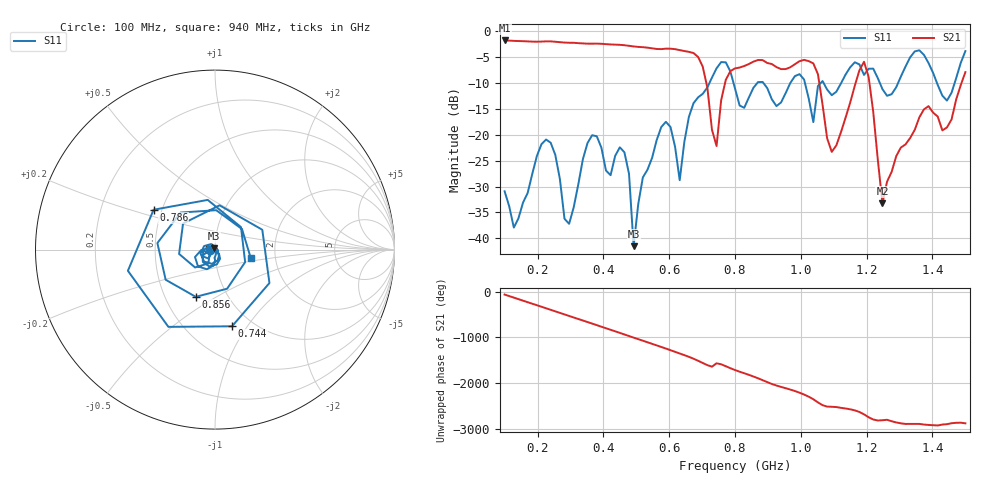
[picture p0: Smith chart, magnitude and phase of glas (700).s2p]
! NanoVNA-App
! Date: 2025-09-25 16:00:55
! Start: 100MHz Stop: 1,5GHz Points: 101
! S-Parameter data: F S11 S21 S12 S22
# Hz S RI R 50
!  Frequency  S11_Real  S11_Imag  S21_Real  S21_Imag  S12_Real  S12_Imag  S22_Real  S22_Imag
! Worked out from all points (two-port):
!   101 points, 100 MHz to 1.5 GHz, reference 50 ohm
!   highest |S21| = -1.80 dB at 100 MHz (marker M1); lowest = -33.2 dB at 1.248 GHz (marker M2)
!   |S21| within 3 dB of the highest: start of sweep to 684.5 MHz
!   lowest |S11| = -41.5 dB at 492 MHz (marker M3), VSWR 1.02, Z = 49.5 + j0.652 ohm
!   |S11| at or under -10 dB: start of sweep to 722.5 MHz; 795.5 MHz to 867.9 MHz (72.49 MHz wide, 8.72 % of centre); 886.2 MHz to 968.1 MHz (81.91 MHz wide, 8.83 % of centre) (the widest 3 of 7)
!   S12 and S22 are empty: the file has one direction only
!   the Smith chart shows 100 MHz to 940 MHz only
!   S11 on the Smith chart (normalised r, x): 100 MHz: 0.94, -0.01; 744 MHz: 0.81, -0.85; 786 MHz: 0.45, +0.24; 856 MHz: 0.71, -0.41; 940 MHz: 1.49, -0.15
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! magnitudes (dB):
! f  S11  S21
! 100 MHz  -30.9  -1.8
! 128 MHz  -37.9  -1.9
! 226 MHz  -20.9  -2.0
! 296 MHz  -37.2  -2.2
! 338 MHz  -24.7  -2.4
! 464 MHz  -23.4  -2.7
! 492 MHz  -41.5  -3.0
! 576 MHz  -18.5  -3.5
! 632 MHz  -28.8  -3.7
! 702 MHz  -12.1  -6.9
! 744 MHz  -7.2  -22.2
! 786 MHz  -7.8  -7.7
! 800 MHz  -11.1  -7.2
! 856 MHz  -10.9  -5.9
! 940 MHz  -13.8  -7.3
! 996 MHz  -8.3  -5.8
! 1.038 GHz  -17.6  -6.2
! 1.094 GHz  -12.4  -23.3
! 1.192 GHz  -8.5  -5.9
! 1.248 GHz  -11.2  -33.2
! 1.276 GHz  -12.2  -27.2
! 1.5 GHz  -3.9  -7.9
